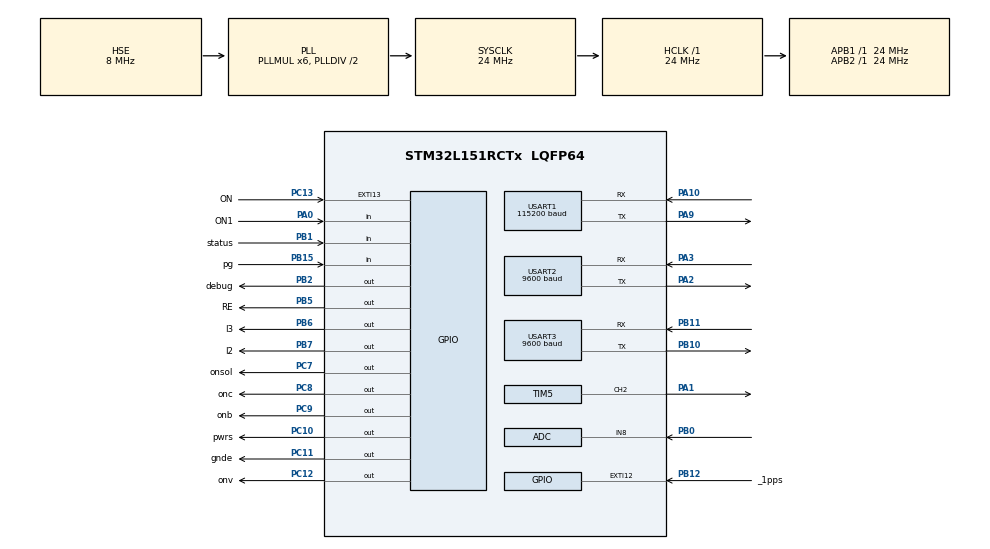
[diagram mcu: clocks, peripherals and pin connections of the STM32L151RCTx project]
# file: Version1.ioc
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ADC.Channel-0\#ChannelRegularConversion=ADC_CHANNEL_8
ADC.NbrOfConversionFlag=1
ADC.Rank-0\#ChannelRegularConversion=1
ADC.SamplingTime-0\#ChannelRegularConversion=ADC_SAMPLETIME_4CYCLES
Mcu.Family=STM32L1
Mcu.Name=STM32L151RCTx
Mcu.Package=LQFP64
NVIC.EXTI15_10_IRQn=true\:0\:0\:false\:false\:true\:true\:true
NVIC.PriorityGroup=NVIC_PRIORITYGROUP_4
NVIC.RTC_Alarm_IRQn=true\:0\:0\:false\:false\:true\:true\:true
NVIC.USART1_IRQn=true\:0\:0\:false\:false\:true\:true\:true
NVIC.USART2_IRQn=true\:0\:0\:false\:false\:true\:true\:true
NVIC.USART3_IRQn=true\:0\:0\:false\:false\:true\:true\:true
PA0-WKUP1.GPIO_Label=ON1
PA0-WKUP1.GPIO_PuPd=GPIO_PULLUP
PA0-WKUP1.Signal=GPIO_Input
PA1.Signal=S_TIM5_CH2
PA10.Mode=Asynchronous
PA10.Signal=USART1_RX
PA13.Mode=Serial_Wire
PA13.Signal=SYS_JTMS-SWDIO
PA14.Mode=Serial_Wire
PA14.Signal=SYS_JTCK-SWCLK
PA2.Mode=Asynchronous
PA2.Signal=USART2_TX
PA3.Mode=Asynchronous
PA3.Signal=USART2_RX
PA9.Mode=Asynchronous
PA9.Signal=USART1_TX
PB0.Mode=IN8
PB0.Signal=ADC_IN8
PB1.GPIO_Label=status
PB1.Signal=GPIO_Input
PB10.Mode=Asynchronous
PB10.Signal=USART3_TX
PB11.Mode=Asynchronous
PB11.Signal=USART3_RX
PB12.GPIO_Label=_1pps
PB12.Signal=GPXTI12
PB15.GPIO_Label=pg
PB15.GPIO_PuPd=GPIO_PULLUP
PB15.Signal=GPIO_Input
PB2.GPIO_Label=debug
PB2.PinState=GPIO_PIN_SET
PB2.Signal=GPIO_Output
PB5.GPIO_Label=RE
PB5.Signal=GPIO_Output
PB6.GPIO_Label=l3
PB6.Signal=GPIO_Output
PB7.GPIO_Label=l2
PB7.Signal=GPIO_Output
PC10.GPIO_Label=pwrs
PC10.GPIO_PuPd=GPIO_PULLDOWN
PC10.Signal=GPIO_Output
PC11.GPIO_Label=gnde
PC11.Signal=GPIO_Output
PC12.GPIO_Label=onv
PC12.PinState=GPIO_PIN_SET
PC12.Signal=GPIO_Output
PC13-WKUP2.GPIO_Label=ON
PC13-WKUP2.GPIO_ModeDefaultEXTI=GPIO_MODE_IT_FALLING
PC13-WKUP2.GPIO_PuPd=GPIO_PULLUP
PC13-WKUP2.Signal=GPXTI13
PC14-OSC32_IN.Mode=LSE-External-Oscillator
PC14-OSC32_IN.Signal=RCC_OSC32_IN
PC15-OSC32_OUT.Mode=LSE-External-Oscillator
PC15-OSC32_OUT.Signal=RCC_OSC32_OUT
PC7.GPIO_Label=onsol
PC7.GPIO_PuPd=GPIO_PULLUP
PC7.PinState=GPIO_PIN_SET
PC7.Signal=GPIO_Output
PC8.GPIO_Label=onc
PC8.Signal=GPIO_Output
PC9.GPIO_Label=onb
PC9.Signal=GPIO_Output
PH0-OSC_IN.Mode=HSE-External-Oscillator
PH0-OSC_IN.Signal=RCC_OSC_IN
PH1-OSC_OUT.Mode=HSE-External-Oscillator
PH1-OSC_OUT.Signal=RCC_OSC_OUT
ProjectManager.HeapSize=0x200
ProjectManager.StackSize=0x400
ProjectManager.TargetToolchain=STM32CubeIDE
RCC.48MHZClocksFreq_Value=24000000
RCC.AHBFreq_Value=24000000
RCC.APB1Freq_Value=24000000
RCC.APB1TimFreq_Value=24000000
RCC.APB2Freq_Value=24000000
RCC.APB2TimFreq_Value=24000000
RCC.EnableCSSLSE=true
RCC.EnbaleCSS=true
RCC.HCLKFreq_Value=24000000
RCC.HSE_VALUE=8000000
RCC.HSI_VALUE=16000000
RCC.MSI_VALUE=2097000
RCC.PLLMUL=RCC_PLL_MUL6
RCC.PLLSourceVirtual=RCC_PLLSOURCE_HSE
RCC.RTCClockSelection=RCC_RTCCLKSOURCE_LSE
RCC.RTCClockSelectionVirtual=RCC_RTCCLKSOURCE_LSE
RCC.SYSCLKFreq_VALUE=24000000
RCC.SYSCLKSource=RCC_SYSCLKSOURCE_PLLCLK
RCC.VCOOutputFreq_Value=48000000
RTC.Alarm-Alarm\ A=RTC_ALARM_A
RTC.AlarmMaskDateWeekDay-Alarm\ A=RTC_ALARMMASK_DATEWEEKDAY
RTC.AlarmMaskHours-Alarm\ A=RTC_ALARMMASK_HOURS
RTC.AlarmMaskMinutes-Alarm\ A=RTC_ALARMMASK_MINUTES
RTC.Hours=11
RTC.Minutes=40
RTC.Seconds=40
RTC.Year=22
SH.S_TIM5_CH2.0=TIM5_CH2,PWM Generation2 CH2
TIM2.ClockDivision=TIM_CLOCKDIVISION_DIV4
TIM2.Prescaler=24000
TIM3.AutoReloadPreload=TIM_AUTORELOAD_PRELOAD_DISABLE
TIM3.Period=30000
TIM3.Prescaler=24000
TIM4.Prescaler=24
TIM5.Channel-PWM\ Generation2\ CH2=TIM_CHANNEL_2
TIM5.Period=366
TIM5.Prescaler=24
USART1.BaudRate=115200
USART1.VirtualMode=VM_ASYNC
USART2.BaudRate=9600
USART2.VirtualMode=VM_ASYNC
USART3.BaudRate=9600
USART3.VirtualMode=VM_ASYNC
VP_RTC_VS_RTC_Activate.Mode=RTC_Enabled
VP_RTC_VS_RTC_Alarm_A_Intern.Mode=Alarm A
VP_RTC_VS_RTC_Calendar.Mode=RTC_Calendar
VP_TIM2_VS_ClockSourceINT.Mode=Internal
VP_TIM3_VS_ClockSourceINT.Mode=Internal
VP_TIM4_VS_ClockSourceINT.Mode=Internal
board=custom

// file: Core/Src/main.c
/* USER CODE BEGIN Header */
/**
  ******************************************************************************
  * @file           : main.c
  * @brief          : Main program body
  ******************************************************************************
  * @attention
  *
  * Copyright (c) 2022 STMicroelectronics.
  * All rights reserved.
  *
  * This software is licensed under terms that can be found in the LICENSE file
  * in the root directory of this software component.
  * If no LICENSE file comes with this software, it is provided AS-IS.
  *
  ******************************************************************************
  */
/* USER CODE END Header */
#include "main.h"

/* USER CODE BEGIN Includes */
#include "uart.h"
#include "working.h"
/* USER CODE END Includes */

/* USER CODE BEGIN PTD */
uint8_t* FW=(uint8_t*)"SW1.10Final.hex";
uint8_t* BW=(uint8_t*)"SW1.12";
uint8_t MV[40];
uint8_t TIME[30];
uint8_t SATH[10];
/* USER CODE END PTD */

ADC_HandleTypeDef hadc;

RTC_HandleTypeDef hrtc;

TIM_HandleTypeDef htim2;
TIM_HandleTypeDef htim3;
TIM_HandleTypeDef htim4;
TIM_HandleTypeDef htim5;

UART_HandleTypeDef huart1;
UART_HandleTypeDef huart2;
UART_HandleTypeDef huart3;

void SystemClock_Config(void);
static void MX_GPIO_Init(void);
static void MX_ADC_Init(void);
static void MX_USART1_UART_Init(void);
static void MX_USART2_UART_Init(void);
static void MX_USART3_UART_Init(void);
static void MX_TIM5_Init(void);
static void MX_RTC_Init(void);
static void MX_TIM2_Init(void);
static void MX_TIM3_Init(void);
static void MX_TIM4_Init(void);

int main(void)
{
  /* USER CODE BEGIN 1 */
   	SCB->VTOR = 0x8005000;
	__enable_irq();

  /* USER CODE END 1 */

  /* MCU Configuration--------------------------------------------------------*/

  /* Reset of all peripherals, Initializes the Flash interface and the Systick. */
  HAL_Init();

  /* Configure the system clock */
  SystemClock_Config();

  /* Initialize all configured peripherals */
  MX_GPIO_Init();
  MX_ADC_Init();
  MX_USART1_UART_Init();
  MX_USART2_UART_Init();
  MX_USART3_UART_Init();
  MX_TIM5_Init();
  MX_RTC_Init();
  MX_TIM2_Init();
  MX_TIM3_Init();
  MX_TIM4_Init();
  /* USER CODE BEGIN 2 */
  HAL_NVIC_DisableIRQ(EXTI15_10_IRQn);
  Initialize(&huart1, &huart2, &huart3, &htim2, &htim5, &htim3, &htim4, &hrtc,&hadc);
  /* USER CODE END 2 */

  /* Infinite loop */
  /* USER CODE BEGIN WHILE */
  bootUp();
  while (1)
  {
    /* USER CODE END WHILE */

    /* USER CODE BEGIN 3 */

	  robbery();
	  working();
	  sleeping();
  }
  /* USER CODE END 3 */
}

void SystemClock_Config(void)
{
  RCC_OscInitTypeDef RCC_OscInitStruct = {0};
  RCC_ClkInitTypeDef RCC_ClkInitStruct = {0};
  RCC_PeriphCLKInitTypeDef PeriphClkInit = {0};

  /** Configure the main internal regulator output voltage
  */
  __HAL_PWR_VOLTAGESCALING_CONFIG(PWR_REGULATOR_VOLTAGE_SCALE1);
  /** Initializes the RCC Oscillators according to the specified parameters
  * in the RCC_OscInitTypeDef structure.
  */
  RCC_OscInitStruct.OscillatorType = RCC_OSCILLATORTYPE_HSI|RCC_OSCILLATORTYPE_HSE
                              |RCC_OSCILLATORTYPE_LSE;
  RCC_OscInitStruct.HSEState = RCC_HSE_ON;
  RCC_OscInitStruct.LSEState = RCC_LSE_ON;
  RCC_OscInitStruct.HSIState = RCC_HSI_ON;
  RCC_OscInitStruct.HSICalibrationValue = RCC_HSICALIBRATION_DEFAULT;
  RCC_OscInitStruct.PLL.PLLState = RCC_PLL_ON;
  RCC_OscInitStruct.PLL.PLLSource = RCC_PLLSOURCE_HSE;
  RCC_OscInitStruct.PLL.PLLMUL = RCC_PLL_MUL6;
  RCC_OscInitStruct.PLL.PLLDIV = RCC_PLL_DIV2;
  if (HAL_RCC_OscConfig(&RCC_OscInitStruct) != HAL_OK)
  {
    Error_Handler();
  }
  /** Initializes the CPU, AHB and APB buses clocks
  */
  RCC_ClkInitStruct.ClockType = RCC_CLOCKTYPE_HCLK|RCC_CLOCKTYPE_SYSCLK
                              |RCC_CLOCKTYPE_PCLK1|RCC_CLOCKTYPE_PCLK2;
  RCC_ClkInitStruct.SYSCLKSource = RCC_SYSCLKSOURCE_PLLCLK;
  RCC_ClkInitStruct.AHBCLKDivider = RCC_SYSCLK_DIV1;
  RCC_ClkInitStruct.APB1CLKDivider = RCC_HCLK_DIV1;
  RCC_ClkInitStruct.APB2CLKDivider = RCC_HCLK_DIV1;

  if (HAL_RCC_ClockConfig(&RCC_ClkInitStruct, FLASH_LATENCY_1) != HAL_OK)
  {
    Error_Handler();
  }
  PeriphClkInit.PeriphClockSelection = RCC_PERIPHCLK_RTC;
  PeriphClkInit.RTCClockSelection = RCC_RTCCLKSOURCE_LSE;
  if (HAL_RCCEx_PeriphCLKConfig(&PeriphClkInit) != HAL_OK)
  {
    Error_Handler();
  }
  /** Enables the Clock Security System
  */
  HAL_RCC_EnableCSS();
  /** Enables the Clock Security System
  */
  HAL_RCCEx_EnableLSECSS();
}

static void MX_ADC_Init(void)
{

  ADC_ChannelConfTypeDef sConfig = {0};

  /** Configure the global features of the ADC (Clock, Resolution, Data Alignment and number of conversion)
  */
  hadc.Instance = ADC1;
  hadc.Init.ClockPrescaler = ADC_CLOCK_ASYNC_DIV1;
  hadc.Init.Resolution = ADC_RESOLUTION_12B;
  hadc.Init.DataAlign = ADC_DATAALIGN_RIGHT;
  hadc.Init.ScanConvMode = ADC_SCAN_DISABLE;
  hadc.Init.EOCSelection = ADC_EOC_SEQ_CONV;
  hadc.Init.LowPowerAutoWait = ADC_AUTOWAIT_DISABLE;
  hadc.Init.LowPowerAutoPowerOff = ADC_AUTOPOWEROFF_DISABLE;
  hadc.Init.ChannelsBank = ADC_CHANNELS_BANK_A;
  hadc.Init.ContinuousConvMode = DISABLE;
  hadc.Init.NbrOfConversion = 1;
  hadc.Init.DiscontinuousConvMode = DISABLE;
  hadc.Init.ExternalTrigConv = ADC_SOFTWARE_START;
  hadc.Init.ExternalTrigConvEdge = ADC_EXTERNALTRIGCONVEDGE_NONE;
  hadc.Init.DMAContinuousRequests = DISABLE;
  if (HAL_ADC_Init(&hadc) != HAL_OK)
  {
    Error_Handler();
  }
  /** Configure for the selected ADC regular channel its corresponding rank in the sequencer and its sample time.
  */
  sConfig.Channel = ADC_CHANNEL_8;
  sConfig.Rank = ADC_REGULAR_RANK_1;
  sConfig.SamplingTime = ADC_SAMPLETIME_4CYCLES;
  if (HAL_ADC_ConfigChannel(&hadc, &sConfig) != HAL_OK)
  {
    Error_Handler();
  }

}

static void MX_RTC_Init(void)
{

  //RTC_TimeTypeDef sTime = {0};
  //RTC_DateTypeDef sDate = {0};
  RTC_AlarmTypeDef sAlarm = {0};

  /** Initialize RTC Only
  */
  hrtc.Instance = RTC;
  hrtc.Init.HourFormat = RTC_HOURFORMAT_24;
  hrtc.Init.AsynchPrediv = 127;
  hrtc.Init.SynchPrediv = 255;
  hrtc.Init.OutPut = RTC_OUTPUT_DISABLE;
  hrtc.Init.OutPutPolarity = RTC_OUTPUT_POLARITY_HIGH;
  hrtc.Init.OutPutType = RTC_OUTPUT_TYPE_OPENDRAIN;
  if (HAL_RTC_Init(&hrtc) != HAL_OK)
  {
    Error_Handler();
  }

  /** Initialize RTC and set the Time and Date
  */
  /*sTime.Hours = 0x11;
  sTime.Minutes = 0x40;
  sTime.Seconds = 0x40;
  sTime.DayLightSaving = RTC_DAYLIGHTSAVING_NONE;
  sTime.StoreOperation = RTC_STOREOPERATION_RESET;
  if (HAL_RTC_SetTime(&hrtc, &sTime, RTC_FORMAT_BCD) != HAL_OK)
  {
    Error_Handler();
  }
  sDate.WeekDay = RTC_WEEKDAY_MONDAY;
  sDate.Month = RTC_MONTH_JANUARY;
  sDate.Date = 0x1;
  sDate.Year = 0x22;

  /*if (HAL_RTC_SetDate(&hrtc, &sDate, RTC_FORMAT_BCD) != HAL_OK)
  {
    Error_Handler();
  }*/
  /** Enable the Alarm A
  */
  sAlarm.AlarmTime.Hours = 0x0;
  sAlarm.AlarmTime.Minutes = 0x0;
  sAlarm.AlarmTime.Seconds = 0x0;
  sAlarm.AlarmTime.SubSeconds = 0x0;
  sAlarm.AlarmTime.DayLightSaving = RTC_DAYLIGHTSAVING_NONE;
  sAlarm.AlarmTime.StoreOperation = RTC_STOREOPERATION_RESET;
  sAlarm.AlarmMask = RTC_ALARMMASK_DATEWEEKDAY|RTC_ALARMMASK_HOURS
                              |RTC_ALARMMASK_MINUTES;
  sAlarm.AlarmSubSecondMask = RTC_ALARMSUBSECONDMASK_ALL;
  sAlarm.AlarmDateWeekDaySel = RTC_ALARMDATEWEEKDAYSEL_DATE;
  sAlarm.AlarmDateWeekDay = 0x1;
  sAlarm.Alarm = RTC_ALARM_A;
  if (HAL_RTC_SetAlarm_IT(&hrtc, &sAlarm, RTC_FORMAT_BCD) != HAL_OK)
  {
    Error_Handler();
  }

}

static void MX_TIM2_Init(void)
{

  TIM_ClockConfigTypeDef sClockSourceConfig = {0};
  TIM_MasterConfigTypeDef sMasterConfig = {0};

  htim2.Instance = TIM2;
  htim2.Init.Prescaler = 24000;
  htim2.Init.CounterMode = TIM_COUNTERMODE_UP;
  htim2.Init.Period = 65535;
  htim2.Init.ClockDivision = TIM_CLOCKDIVISION_DIV4;
  htim2.Init.AutoReloadPreload = TIM_AUTORELOAD_PRELOAD_DISABLE;
  if (HAL_TIM_Base_Init(&htim2) != HAL_OK)
  {
    Error_Handler();
  }
  sClockSourceConfig.ClockSource = TIM_CLOCKSOURCE_INTERNAL;
  if (HAL_TIM_ConfigClockSource(&htim2, &sClockSourceConfig) != HAL_OK)
  {
    Error_Handler();
  }
  sMasterConfig.MasterOutputTrigger = TIM_TRGO_RESET;
  sMasterConfig.MasterSlaveMode = TIM_MASTERSLAVEMODE_DISABLE;
  if (HAL_TIMEx_MasterConfigSynchronization(&htim2, &sMasterConfig) != HAL_OK)
  {
    Error_Handler();
  }

}

static void MX_TIM3_Init(void)
{

  TIM_ClockConfigTypeDef sClockSourceConfig = {0};
  TIM_MasterConfigTypeDef sMasterConfig = {0};

  htim3.Instance = TIM3;
  htim3.Init.Prescaler = 24000;
  htim3.Init.CounterMode = TIM_COUNTERMODE_UP;
  htim3.Init.Period = 30000;
  htim3.Init.ClockDivision = TIM_CLOCKDIVISION_DIV1;
  htim3.Init.AutoReloadPreload = TIM_AUTORELOAD_PRELOAD_DISABLE;
  if (HAL_TIM_Base_Init(&htim3) != HAL_OK)
  {
    Error_Handler();
  }
  sClockSourceConfig.ClockSource = TIM_CLOCKSOURCE_INTERNAL;
  if (HAL_TIM_ConfigClockSource(&htim3, &sClockSourceConfig) != HAL_OK)
  {
    Error_Handler();
  }
  sMasterConfig.MasterOutputTrigger = TIM_TRGO_RESET;
  sMasterConfig.MasterSlaveMode = TIM_MASTERSLAVEMODE_DISABLE;
  if (HAL_TIMEx_MasterConfigSynchronization(&htim3, &sMasterConfig) != HAL_OK)
  {
    Error_Handler();
  }

}

static void MX_TIM4_Init(void)
{

  TIM_ClockConfigTypeDef sClockSourceConfig = {0};
  TIM_MasterConfigTypeDef sMasterConfig = {0};

  htim4.Instance = TIM4;
  htim4.Init.Prescaler = 24;
  htim4.Init.CounterMode = TIM_COUNTERMODE_UP;
  htim4.Init.Period = 65535;
  htim4.Init.ClockDivision = TIM_CLOCKDIVISION_DIV1;
  htim4.Init.AutoReloadPreload = TIM_AUTORELOAD_PRELOAD_DISABLE;
  if (HAL_TIM_Base_Init(&htim4) != HAL_OK)
  {
    Error_Handler();
  }
  sClockSourceConfig.ClockSource = TIM_CLOCKSOURCE_INTERNAL;
  if (HAL_TIM_ConfigClockSource(&htim4, &sClockSourceConfig) != HAL_OK)
  {
    Error_Handler();
  }
  sMasterConfig.MasterOutputTrigger = TIM_TRGO_RESET;
  sMasterConfig.MasterSlaveMode = TIM_MASTERSLAVEMODE_DISABLE;
  if (HAL_TIMEx_MasterConfigSynchronization(&htim4, &sMasterConfig) != HAL_OK)
  {
    Error_Handler();
  }

}

static void MX_TIM5_Init(void)
{

  TIM_MasterConfigTypeDef sMasterConfig = {0};
  TIM_OC_InitTypeDef sConfigOC = {0};

  htim5.Instance = TIM5;
  htim5.Init.Prescaler = 24;
  htim5.Init.CounterMode = TIM_COUNTERMODE_UP;
  htim5.Init.Period = 366;
  htim5.Init.ClockDivision = TIM_CLOCKDIVISION_DIV1;
  htim5.Init.AutoReloadPreload = TIM_AUTORELOAD_PRELOAD_DISABLE;
  if (HAL_TIM_PWM_Init(&htim5) != HAL_OK)
  {
    Error_Handler();
  }
  sMasterConfig.MasterOutputTrigger = TIM_TRGO_RESET;
  sMasterConfig.MasterSlaveMode = TIM_MASTERSLAVEMODE_DISABLE;
  if (HAL_TIMEx_MasterConfigSynchronization(&htim5, &sMasterConfig) != HAL_OK)
  {
    Error_Handler();
  }
  sConfigOC.OCMode = TIM_OCMODE_PWM1;
  sConfigOC.Pulse = 0;
  sConfigOC.OCPolarity = TIM_OCPOLARITY_HIGH;
  sConfigOC.OCFastMode = TIM_OCFAST_DISABLE;
  if (HAL_TIM_PWM_ConfigChannel(&htim5, &sConfigOC, TIM_CHANNEL_2) != HAL_OK)
  {
    Error_Handler();
  }
  HAL_TIM_MspPostInit(&htim5);

}

static void MX_USART1_UART_Init(void)
{

  huart1.Instance = USART1;
  huart1.Init.BaudRate = 115200;
  huart1.Init.WordLength = UART_WORDLENGTH_8B;
  huart1.Init.StopBits = UART_STOPBITS_1;
  huart1.Init.Parity = UART_PARITY_NONE;
  huart1.Init.Mode = UART_MODE_TX_RX;
  huart1.Init.HwFlowCtl = UART_HWCONTROL_NONE;
  huart1.Init.OverSampling = UART_OVERSAMPLING_16;
  if (HAL_UART_Init(&huart1) != HAL_OK)
  {
    Error_Handler();
  }

}

static void MX_USART2_UART_Init(void)
{

  huart2.Instance = USART2;
  huart2.Init.BaudRate = 9600;
  huart2.Init.WordLength = UART_WORDLENGTH_8B;
  huart2.Init.StopBits = UART_STOPBITS_1;
  huart2.Init.Parity = UART_PARITY_NONE;
  huart2.Init.Mode = UART_MODE_TX_RX;
  huart2.Init.HwFlowCtl = UART_HWCONTROL_NONE;
  huart2.Init.OverSampling = UART_OVERSAMPLING_16;
  if (HAL_UART_Init(&huart2) != HAL_OK)
  {
    Error_Handler();
  }

}

static void MX_USART3_UART_Init(void)
{

  huart3.Instance = USART3;
  huart3.Init.BaudRate = 9600;
  huart3.Init.WordLength = UART_WORDLENGTH_8B;
  huart3.Init.StopBits = UART_STOPBITS_1;
  huart3.Init.Parity = UART_PARITY_NONE;
  huart3.Init.Mode = UART_MODE_TX_RX;
  huart3.Init.HwFlowCtl = UART_HWCONTROL_NONE;
  huart3.Init.OverSampling = UART_OVERSAMPLING_16;
  if (HAL_UART_Init(&huart3) != HAL_OK)
  {
    Error_Handler();
  }

}

static void MX_GPIO_Init(void)
{
  GPIO_InitTypeDef GPIO_InitStruct = {0};

  /* GPIO Ports Clock Enable */
  __HAL_RCC_GPIOC_CLK_ENABLE();
  __HAL_RCC_GPIOH_CLK_ENABLE();
  __HAL_RCC_GPIOA_CLK_ENABLE();
  __HAL_RCC_GPIOB_CLK_ENABLE();

  /*Configure GPIO pin Output Level */
  HAL_GPIO_WritePin(debug_GPIO_Port, debug_Pin, GPIO_PIN_SET);

  /*Configure GPIO pin Output Level */
  HAL_GPIO_WritePin(GPIOC, onsol_Pin|onv_Pin, GPIO_PIN_SET);

  /*Configure GPIO pin Output Level */
  HAL_GPIO_WritePin(GPIOC, onc_Pin|onb_Pin|pwrs_Pin|gnde_Pin, GPIO_PIN_RESET);

  /*Configure GPIO pin Output Level */
  HAL_GPIO_WritePin(GPIOB, RE_Pin|l3_Pin|l2_Pin, GPIO_PIN_RESET);

  /*Configure GPIO pin : ON_Pin */
  GPIO_InitStruct.Pin = ON_Pin;
  GPIO_InitStruct.Mode = GPIO_MODE_IT_FALLING;
  GPIO_InitStruct.Pull = GPIO_PULLUP;
  HAL_GPIO_Init(ON_GPIO_Port, &GPIO_InitStruct);

  /*Configure GPIO pin : ON1_Pin */
  GPIO_InitStruct.Pin = ON1_Pin;
  GPIO_InitStruct.Mode = GPIO_MODE_INPUT;
  GPIO_InitStruct.Pull = GPIO_PULLUP;
  HAL_GPIO_Init(ON1_GPIO_Port, &GPIO_InitStruct);

  /*Configure GPIO pin : status_Pin */
  GPIO_InitStruct.Pin = status_Pin;
  GPIO_InitStruct.Mode = GPIO_MODE_INPUT;
  GPIO_InitStruct.Pull = GPIO_NOPULL;
  HAL_GPIO_Init(status_GPIO_Port, &GPIO_InitStruct);

  /*Configure GPIO pins : debug_Pin RE_Pin l3_Pin l2_Pin */
  GPIO_InitStruct.Pin = debug_Pin|RE_Pin|l3_Pin|l2_Pin;
  GPIO_InitStruct.Mode = GPIO_MODE_OUTPUT_PP;
  GPIO_InitStruct.Pull = GPIO_NOPULL;
  GPIO_InitStruct.Speed = GPIO_SPEED_FREQ_LOW;
  HAL_GPIO_Init(GPIOB, &GPIO_InitStruct);

  /*Configure GPIO pin : _1pps_Pin */
  GPIO_InitStruct.Pin = _1pps_Pin;
  GPIO_InitStruct.Mode = GPIO_MODE_IT_RISING;
  GPIO_InitStruct.Pull = GPIO_NOPULL;
  HAL_GPIO_Init(_1pps_GPIO_Port, &GPIO_InitStruct);

  /*Configure GPIO pin : pg_Pin */
  GPIO_InitStruct.Pin = pg_Pin;
  GPIO_InitStruct.Mode = GPIO_MODE_INPUT;
  GPIO_InitStruct.Pull = GPIO_PULLUP;
  HAL_GPIO_Init(pg_GPIO_Port, &GPIO_InitStruct);

  /*Configure GPIO pin : onsol_Pin */
  GPIO_InitStruct.Pin = onsol_Pin;
  GPIO_InitStruct.Mode = GPIO_MODE_OUTPUT_PP;
  GPIO_InitStruct.Pull = GPIO_PULLUP;
  GPIO_InitStruct.Speed = GPIO_SPEED_FREQ_LOW;
  HAL_GPIO_Init(onsol_GPIO_Port, &GPIO_InitStruct);

  /*Configure GPIO pins : onc_Pin onb_Pin gnde_Pin onv_Pin */
  GPIO_InitStruct.Pin = onc_Pin|onb_Pin|gnde_Pin|onv_Pin;
  GPIO_InitStruct.Mode = GPIO_MODE_OUTPUT_PP;
  GPIO_InitStruct.Pull = GPIO_NOPULL;
  GPIO_InitStruct.Speed = GPIO_SPEED_FREQ_LOW;
  HAL_GPIO_Init(GPIOC, &GPIO_InitStruct);

  /*Configure GPIO pin : pwrs_Pin */
  GPIO_InitStruct.Pin = pwrs_Pin;
  GPIO_InitStruct.Mode = GPIO_MODE_OUTPUT_PP;
  GPIO_InitStruct.Pull = GPIO_PULLDOWN;
  GPIO_InitStruct.Speed = GPIO_SPEED_FREQ_LOW;
  HAL_GPIO_Init(pwrs_GPIO_Port, &GPIO_InitStruct);

  /* EXTI interrupt init*/
  HAL_NVIC_SetPriority(EXTI15_10_IRQn, 0, 0);
  HAL_NVIC_EnableIRQ(EXTI15_10_IRQn);

}

/* USER CODE BEGIN 4 */
void HAL_RTC_AlarmAEventCallback(RTC_HandleTypeDef *hrtc){
	sleepCounter++;
	checksleepCount = 1;
}

void sleep(){
	__HAL_RTC_ALARMA_ENABLE(rtc);
	HAL_NVIC_EnableIRQ(EXTI15_10_IRQn);
	HAL_UART_DeInit(&huart1);
	HAL_UART_DeInit(&huart2);
	HAL_UART_DeInit(&huart3);
	HAL_UART_AbortReceive_IT(&huart1);
	HAL_UART_AbortReceive_IT(&huart2);
	HAL_UART_AbortReceive_IT(&huart3);
	HAL_SuspendTick();
	//HAL_PWR_EnterSLEEPMode(PWR_LOWPOWERREGULATOR_ON, PWR_SLEEPENTRY_WFI);
	HAL_PWR_EnterSTOPMode(PWR_LOWPOWERREGULATOR_ON, PWR_STOPENTRY_WFI);
}
void wakeUp(){
	HAL_ResumeTick();
	SystemClock_Config();
	HAL_UART_Init(&huart3);
	HAL_UART_Init(&huart2);
	HAL_UART_Init(&huart1);
	HAL_UART_Receive_IT(&huart1, &rx_data, 1);
	HAL_UART_Receive_IT(&huart2, &rx_data, 1);
	HAL_UART_Receive_IT(&huart3, &rx_data, 1);
	HAL_NVIC_DisableIRQ(EXTI15_10_IRQn);
	__HAL_RTC_ALARMA_DISABLE(rtc);
}
void usart3Init(){
	  MX_USART3_UART_Init();
	  HAL_UART_Receive_IT(uartSensor, &rx_data, 1);
}
/* USER CODE END 4 */

void Error_Handler(void)
{
  __disable_irq();
  while (1)
  {
  }
}
